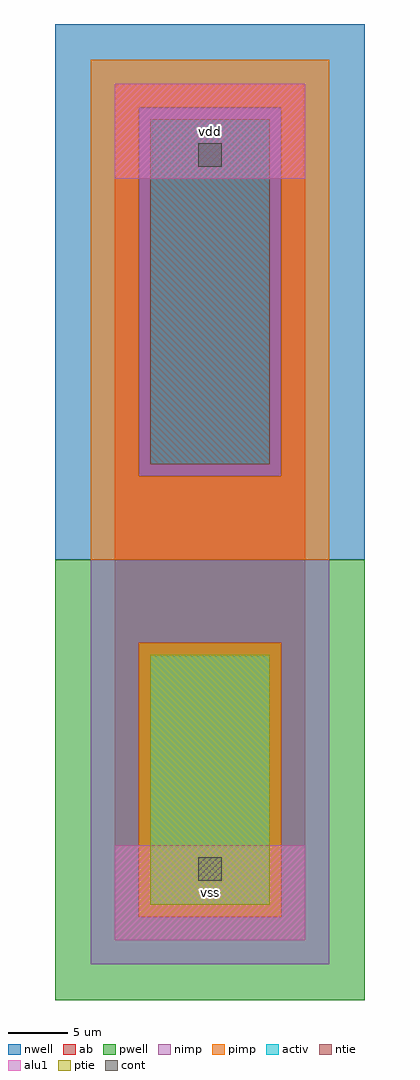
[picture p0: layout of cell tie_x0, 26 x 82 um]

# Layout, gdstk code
import gdstk
lib = gdstk.Library(unit=1e-6, precision=1e-09)
def R(c, l, rs):  # rectangles x0, y0, x1, y1
    for r in rs: c.add(gdstk.rectangle(r[:2], r[2:], *l))
ntie = (5, 0)
ptie = (6, 0)
cont = (25, 0)
pwell = (41, 0)
nwell = (42, 0)
activ = (43, 0)
pimp = (44, 0)
nimp = (45, 0)
alu1 = (49, 0)
ab = (63, 0)

tie_x0 = lib.new_cell('tie_x0')
R(tie_x0, ntie, [(3,40,13,69)])
R(tie_x0, ptie, [(3,3,13,24)])
R(tie_x0, cont, [(7,5,9,7), (7,65,9,67)])
R(tie_x0, pwell, [(-5,-5,21,32)])
R(tie_x0, nwell, [(-5,32,21,77)])
R(tie_x0, activ, [(3,3,13,24), (3,40,13,69)])
R(tie_x0, pimp, [(2,2,14,25), (-2,32,18,39), (-2,39,2,70), (14,39,18,70), (-2,70,18,74)])
R(tie_x0, nimp, [(-2,-2,18,2), (-2,2,2,25), (14,2,18,25), (-2,25,18,32), (2,39,14,70)])
R(tie_x0, alu1, [(0,0,16,8), (0,64,16,72)])
R(tie_x0, ab, [(0,0,16,72)])
tie_x0.add(gdstk.Label('vss', (8,4), layer=49, texttype=0))
tie_x0.add(gdstk.Label('vdd', (8,68), layer=49, texttype=0))

lib.write_gds('tie_x0.gds')
